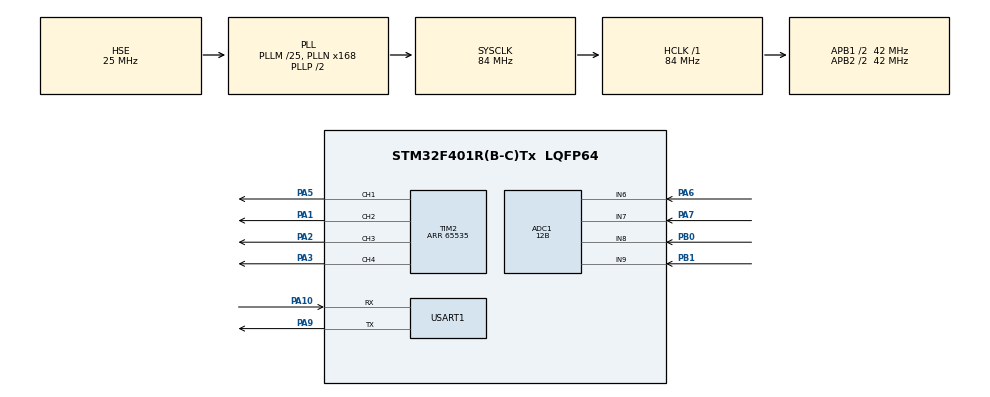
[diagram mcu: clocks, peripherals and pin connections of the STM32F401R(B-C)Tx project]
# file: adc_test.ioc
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ADC1.Channel-0\#ChannelRegularConversion=ADC_CHANNEL_6
ADC1.Channel-1\#ChannelRegularConversion=ADC_CHANNEL_7
ADC1.Channel-2\#ChannelRegularConversion=ADC_CHANNEL_8
ADC1.Channel-3\#ChannelRegularConversion=ADC_CHANNEL_9
ADC1.ClockPrescaler=ADC_CLOCK_SYNC_PCLK_DIV2
ADC1.ContinuousConvMode=ENABLE
ADC1.DMAContinuousRequests=ENABLE
ADC1.NbrOfConversion=4
ADC1.NbrOfConversionFlag=1
ADC1.Rank-0\#ChannelRegularConversion=1
ADC1.Rank-1\#ChannelRegularConversion=2
ADC1.Rank-2\#ChannelRegularConversion=3
ADC1.Rank-3\#ChannelRegularConversion=4
ADC1.Resolution=ADC_RESOLUTION_12B
ADC1.SamplingTime-0\#ChannelRegularConversion=ADC_SAMPLETIME_3CYCLES
ADC1.SamplingTime-1\#ChannelRegularConversion=ADC_SAMPLETIME_3CYCLES
ADC1.SamplingTime-2\#ChannelRegularConversion=ADC_SAMPLETIME_3CYCLES
ADC1.SamplingTime-3\#ChannelRegularConversion=ADC_SAMPLETIME_480CYCLES
ADC1.ScanConvMode=ENABLE
ADC1.master=1
Dma.ADC1.0.Direction=DMA_PERIPH_TO_MEMORY
Dma.ADC1.0.FIFOMode=DMA_FIFOMODE_DISABLE
Dma.ADC1.0.Instance=DMA2_Stream0
Dma.ADC1.0.MemDataAlignment=DMA_MDATAALIGN_HALFWORD
Dma.ADC1.0.MemInc=DMA_MINC_ENABLE
Dma.ADC1.0.Mode=DMA_CIRCULAR
Dma.ADC1.0.PeriphDataAlignment=DMA_PDATAALIGN_HALFWORD
Dma.ADC1.0.PeriphInc=DMA_PINC_DISABLE
Dma.ADC1.0.Priority=DMA_PRIORITY_LOW
Dma.Request0=ADC1
Mcu.Family=STM32F4
Mcu.Name=STM32F401R(B-C)Tx
Mcu.Package=LQFP64
NVIC.DMA2_Stream0_IRQn=true\:0\:0\:false\:false\:true\:false\:true\:true
NVIC.PriorityGroup=NVIC_PRIORITYGROUP_4
PA1.Signal=S_TIM2_CH2
PA10.Mode=Asynchronous
PA10.Signal=USART1_RX
PA2.Signal=S_TIM2_CH3
PA3.Signal=S_TIM2_CH4
PA5.Signal=S_TIM2_CH1_ETR
PA6.Signal=ADCx_IN6
PA7.Signal=ADCx_IN7
PA9.Mode=Asynchronous
PA9.Signal=USART1_TX
PB0.Signal=ADCx_IN8
PB1.Signal=ADCx_IN9
PH0\ -\ OSC_IN.Mode=HSE-External-Oscillator
PH0\ -\ OSC_IN.Signal=RCC_OSC_IN
PH1\ -\ OSC_OUT.Mode=HSE-External-Oscillator
PH1\ -\ OSC_OUT.Signal=RCC_OSC_OUT
ProjectManager.HeapSize=0x200
ProjectManager.StackSize=0x400
ProjectManager.TargetToolchain=STM32CubeIDE
RCC.48MHZClocksFreq_Value=42000000
RCC.AHBFreq_Value=84000000
RCC.APB1CLKDivider=RCC_HCLK_DIV2
RCC.APB1Freq_Value=42000000
RCC.APB1TimFreq_Value=84000000
RCC.APB2CLKDivider=RCC_HCLK_DIV2
RCC.APB2Freq_Value=42000000
RCC.APB2TimFreq_Value=84000000
RCC.CortexFreq_Value=84000000
RCC.HCLKFreq_Value=84000000
RCC.HSE_VALUE=25000000
RCC.HSI_VALUE=16000000
RCC.LSE_VALUE=32768
RCC.PLLM=25
RCC.PLLN=168
RCC.PLLSourceVirtual=RCC_PLLSOURCE_HSE
RCC.SYSCLKFreq_VALUE=84000000
RCC.SYSCLKSource=RCC_SYSCLKSOURCE_PLLCLK
RCC.VCOOutputFreq_Value=168000000
SH.ADCx_IN6.0=ADC1_IN6,IN6
SH.ADCx_IN7.0=ADC1_IN7,IN7
SH.ADCx_IN8.0=ADC1_IN8,IN8
SH.ADCx_IN9.0=ADC1_IN9,IN9
SH.S_TIM2_CH1_ETR.0=TIM2_CH1,PWM Generation1 CH1
SH.S_TIM2_CH2.0=TIM2_CH2,PWM Generation2 CH2
SH.S_TIM2_CH3.0=TIM2_CH3,PWM Generation3 CH3
SH.S_TIM2_CH4.0=TIM2_CH4,PWM Generation4 CH4
TIM2.AutoReloadPreload=TIM_AUTORELOAD_PRELOAD_ENABLE
TIM2.Channel-PWM\ Generation1\ CH1=TIM_CHANNEL_1
TIM2.Channel-PWM\ Generation2\ CH2=TIM_CHANNEL_2
TIM2.Channel-PWM\ Generation3\ CH3=TIM_CHANNEL_3
TIM2.Channel-PWM\ Generation4\ CH4=TIM_CHANNEL_4
TIM2.Period=65535
USART1.VirtualMode=VM_ASYNC
board=custom

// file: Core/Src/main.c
/* USER CODE BEGIN Header */
/**
  ******************************************************************************
  * @file           : main.c
  * @brief          : Main program body
  ******************************************************************************
  * @attention
  *
  * Copyright (c) 2024 STMicroelectronics.
  * All rights reserved.
  *
  * This software is licensed under terms that can be found in the LICENSE file
  * in the root directory of this software component.
  * If no LICENSE file comes with this software, it is provided AS-IS.
  *
  ******************************************************************************
  */
/* USER CODE END Header */
#include "main.h"

/* USER CODE BEGIN Includes */
#include <stdio.h>
/* USER CODE END Includes */

ADC_HandleTypeDef hadc1;
DMA_HandleTypeDef hdma_adc1;

TIM_HandleTypeDef htim2;

UART_HandleTypeDef huart1;

/* USER CODE BEGIN PV */
uint16_t AD_RES_BUFFER[4096];
static volatile int done = 0;
static volatile int prnt = 0;
/* USER CODE END PV */

void SystemClock_Config(void);
static void MX_GPIO_Init(void);
static void MX_DMA_Init(void);
static void MX_ADC1_Init(void);
static void MX_TIM2_Init(void);
static void MX_USART1_UART_Init(void);

/* USER CODE BEGIN 0 */
// to get printf() work
int __io_putchar(int ch)
{
  if (ch == '\n') {
    static uint8_t cr = '\r';
    HAL_UART_Transmit(&huart1, &cr, 1, 1);
  }
  HAL_UART_Transmit(&huart1, (uint8_t *)&ch, 1, 1);
  return ch;
}
/* USER CODE END 0 */

int main(void)
{

  /* MCU Configuration--------------------------------------------------------*/

  /* Reset of all peripherals, Initializes the Flash interface and the Systick. */
  HAL_Init();

  /* Configure the system clock */
  SystemClock_Config();

  /* Initialize all configured peripherals */
  MX_GPIO_Init();
  MX_DMA_Init();
  MX_ADC1_Init();
  MX_TIM2_Init();
  MX_USART1_UART_Init();
  /* USER CODE BEGIN 2 */
  HAL_TIM_PWM_Start(&htim2, TIM_CHANNEL_1);
  HAL_TIM_PWM_Start(&htim2, TIM_CHANNEL_2);
  HAL_TIM_PWM_Start(&htim2, TIM_CHANNEL_3);
  HAL_TIM_PWM_Start(&htim2, TIM_CHANNEL_4);
  HAL_ADC_Start_DMA(&hadc1, (uint32_t*)AD_RES_BUFFER, sizeof(AD_RES_BUFFER)/2);
  /* USER CODE END 2 */

  /* Infinite loop */
  while (1)
  {

    /* USER CODE BEGIN 3 */
    if (done && !prnt) {
	for (int i = 0; i < 1024; i++) {
	    printf("%hu\n", AD_RES_BUFFER[4*i+3]);
	}
	printf("==\n");
	prnt = 1;
    }
  }
  /* USER CODE END 3 */
}

void SystemClock_Config(void)
{
  RCC_OscInitTypeDef RCC_OscInitStruct = {0};
  RCC_ClkInitTypeDef RCC_ClkInitStruct = {0};

  /** Configure the main internal regulator output voltage
  */
  __HAL_RCC_PWR_CLK_ENABLE();
  __HAL_PWR_VOLTAGESCALING_CONFIG(PWR_REGULATOR_VOLTAGE_SCALE2);

  /** Initializes the RCC Oscillators according to the specified parameters
  * in the RCC_OscInitTypeDef structure.
  */
  RCC_OscInitStruct.OscillatorType = RCC_OSCILLATORTYPE_HSE;
  RCC_OscInitStruct.HSEState = RCC_HSE_ON;
  RCC_OscInitStruct.PLL.PLLState = RCC_PLL_ON;
  RCC_OscInitStruct.PLL.PLLSource = RCC_PLLSOURCE_HSE;
  RCC_OscInitStruct.PLL.PLLM = 25;
  RCC_OscInitStruct.PLL.PLLN = 168;
  RCC_OscInitStruct.PLL.PLLP = RCC_PLLP_DIV2;
  RCC_OscInitStruct.PLL.PLLQ = 4;
  if (HAL_RCC_OscConfig(&RCC_OscInitStruct) != HAL_OK)
  {
    Error_Handler();
  }

  /** Initializes the CPU, AHB and APB buses clocks
  */
  RCC_ClkInitStruct.ClockType = RCC_CLOCKTYPE_HCLK|RCC_CLOCKTYPE_SYSCLK
                              |RCC_CLOCKTYPE_PCLK1|RCC_CLOCKTYPE_PCLK2;
  RCC_ClkInitStruct.SYSCLKSource = RCC_SYSCLKSOURCE_PLLCLK;
  RCC_ClkInitStruct.AHBCLKDivider = RCC_SYSCLK_DIV1;
  RCC_ClkInitStruct.APB1CLKDivider = RCC_HCLK_DIV2;
  RCC_ClkInitStruct.APB2CLKDivider = RCC_HCLK_DIV2;

  if (HAL_RCC_ClockConfig(&RCC_ClkInitStruct, FLASH_LATENCY_2) != HAL_OK)
  {
    Error_Handler();
  }
}

static void MX_ADC1_Init(void)
{

  ADC_ChannelConfTypeDef sConfig = {0};

  /** Configure the global features of the ADC (Clock, Resolution, Data Alignment and number of conversion)
  */
  hadc1.Instance = ADC1;
  hadc1.Init.ClockPrescaler = ADC_CLOCK_SYNC_PCLK_DIV2;
  hadc1.Init.Resolution = ADC_RESOLUTION_12B;
  hadc1.Init.ScanConvMode = ENABLE;
  hadc1.Init.ContinuousConvMode = ENABLE;
  hadc1.Init.DiscontinuousConvMode = DISABLE;
  hadc1.Init.ExternalTrigConvEdge = ADC_EXTERNALTRIGCONVEDGE_NONE;
  hadc1.Init.ExternalTrigConv = ADC_SOFTWARE_START;
  hadc1.Init.DataAlign = ADC_DATAALIGN_RIGHT;
  hadc1.Init.NbrOfConversion = 4;
  hadc1.Init.DMAContinuousRequests = ENABLE;
  hadc1.Init.EOCSelection = ADC_EOC_SINGLE_CONV;
  if (HAL_ADC_Init(&hadc1) != HAL_OK)
  {
    Error_Handler();
  }

  /** Configure for the selected ADC regular channel its corresponding rank in the sequencer and its sample time.
  */
  sConfig.Channel = ADC_CHANNEL_6;
  sConfig.Rank = 1;
  sConfig.SamplingTime = ADC_SAMPLETIME_3CYCLES;
  if (HAL_ADC_ConfigChannel(&hadc1, &sConfig) != HAL_OK)
  {
    Error_Handler();
  }

  /** Configure for the selected ADC regular channel its corresponding rank in the sequencer and its sample time.
  */
  sConfig.Channel = ADC_CHANNEL_7;
  sConfig.Rank = 2;
  if (HAL_ADC_ConfigChannel(&hadc1, &sConfig) != HAL_OK)
  {
    Error_Handler();
  }

  /** Configure for the selected ADC regular channel its corresponding rank in the sequencer and its sample time.
  */
  sConfig.Channel = ADC_CHANNEL_8;
  sConfig.Rank = 3;
  if (HAL_ADC_ConfigChannel(&hadc1, &sConfig) != HAL_OK)
  {
    Error_Handler();
  }

  /** Configure for the selected ADC regular channel its corresponding rank in the sequencer and its sample time.
  */
  sConfig.Channel = ADC_CHANNEL_9;
  sConfig.Rank = 4;
  sConfig.SamplingTime = ADC_SAMPLETIME_480CYCLES;
  if (HAL_ADC_ConfigChannel(&hadc1, &sConfig) != HAL_OK)
  {
    Error_Handler();
  }

}

static void MX_TIM2_Init(void)
{

  TIM_MasterConfigTypeDef sMasterConfig = {0};
  TIM_OC_InitTypeDef sConfigOC = {0};

  htim2.Instance = TIM2;
  htim2.Init.Prescaler = 0;
  htim2.Init.CounterMode = TIM_COUNTERMODE_UP;
  htim2.Init.Period = 65535;
  htim2.Init.ClockDivision = TIM_CLOCKDIVISION_DIV1;
  htim2.Init.AutoReloadPreload = TIM_AUTORELOAD_PRELOAD_ENABLE;
  if (HAL_TIM_PWM_Init(&htim2) != HAL_OK)
  {
    Error_Handler();
  }
  sMasterConfig.MasterOutputTrigger = TIM_TRGO_RESET;
  sMasterConfig.MasterSlaveMode = TIM_MASTERSLAVEMODE_DISABLE;
  if (HAL_TIMEx_MasterConfigSynchronization(&htim2, &sMasterConfig) != HAL_OK)
  {
    Error_Handler();
  }
  sConfigOC.OCMode = TIM_OCMODE_PWM1;
  sConfigOC.Pulse = 0;
  sConfigOC.OCPolarity = TIM_OCPOLARITY_HIGH;
  sConfigOC.OCFastMode = TIM_OCFAST_DISABLE;
  if (HAL_TIM_PWM_ConfigChannel(&htim2, &sConfigOC, TIM_CHANNEL_1) != HAL_OK)
  {
    Error_Handler();
  }
  if (HAL_TIM_PWM_ConfigChannel(&htim2, &sConfigOC, TIM_CHANNEL_2) != HAL_OK)
  {
    Error_Handler();
  }
  if (HAL_TIM_PWM_ConfigChannel(&htim2, &sConfigOC, TIM_CHANNEL_3) != HAL_OK)
  {
    Error_Handler();
  }
  if (HAL_TIM_PWM_ConfigChannel(&htim2, &sConfigOC, TIM_CHANNEL_4) != HAL_OK)
  {
    Error_Handler();
  }
  HAL_TIM_MspPostInit(&htim2);

}

static void MX_USART1_UART_Init(void)
{

  huart1.Instance = USART1;
  huart1.Init.BaudRate = 115200;
  huart1.Init.WordLength = UART_WORDLENGTH_8B;
  huart1.Init.StopBits = UART_STOPBITS_1;
  huart1.Init.Parity = UART_PARITY_NONE;
  huart1.Init.Mode = UART_MODE_TX_RX;
  huart1.Init.HwFlowCtl = UART_HWCONTROL_NONE;
  huart1.Init.OverSampling = UART_OVERSAMPLING_16;
  if (HAL_UART_Init(&huart1) != HAL_OK)
  {
    Error_Handler();
  }

}

static void MX_DMA_Init(void)
{

  /* DMA controller clock enable */
  __HAL_RCC_DMA2_CLK_ENABLE();

  /* DMA interrupt init */
  /* DMA2_Stream0_IRQn interrupt configuration */
  HAL_NVIC_SetPriority(DMA2_Stream0_IRQn, 0, 0);
  HAL_NVIC_EnableIRQ(DMA2_Stream0_IRQn);

}

static void MX_GPIO_Init(void)
{

  /* GPIO Ports Clock Enable */
  __HAL_RCC_GPIOH_CLK_ENABLE();
  __HAL_RCC_GPIOA_CLK_ENABLE();
  __HAL_RCC_GPIOB_CLK_ENABLE();

}

/* USER CODE BEGIN 4 */
int16_t cvt16(uint16_t x)
{
  return (x << 4) - 32767;
}

void HAL_ADC_ConvCpltCallback(ADC_HandleTypeDef* hadc)
{
  done = 1;
//  static int cnt = 0;
//  if (cnt++ % 25 == 0)
//  printf("%hd\n", AD_RES_BUFFER[3]);
    // Conversion Complete & DMA Transfer Complete As Well
    // So The AD_RES_BUFFER Is Now Updated & Let's Move Values To The PWM CCRx
    // Update The PWM Channels With Latest ADC Scan Conversion Results
    TIM2->CCR1 = (AD_RES_BUFFER[0] << 4);  // ADC CH6 -> PWM CH1
    TIM2->CCR2 = (AD_RES_BUFFER[1] << 4);  // ADC CH7 -> PWM CH2
    TIM2->CCR3 = (AD_RES_BUFFER[2] << 4);  // ADC CH8 -> PWM CH3
    TIM2->CCR4 = (AD_RES_BUFFER[3] << 4);  // ADC CH9 -> PWM CH4
}
/* USER CODE END 4 */

void Error_Handler(void)
{
  __disable_irq();
  while (1)
  {
  }
}
